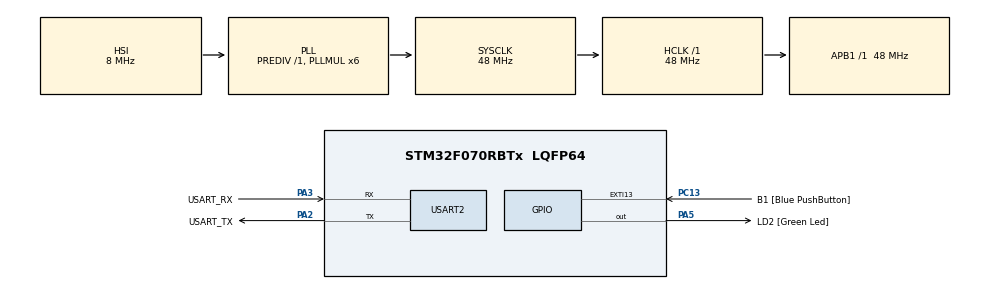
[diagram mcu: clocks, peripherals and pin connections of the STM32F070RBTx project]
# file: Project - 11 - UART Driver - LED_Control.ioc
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Mcu.Family=STM32F0
Mcu.Name=STM32F070RBTx
Mcu.Package=LQFP64
PA13.GPIO_Label=TMS
PA13.Mode=Serial_Wire
PA13.Signal=SYS_SWDIO
PA14.GPIO_Label=TCK
PA14.Mode=Serial_Wire
PA14.Signal=SYS_SWCLK
PA2.GPIO_Label=USART_TX
PA2.Mode=Asynchronous
PA2.Signal=USART2_TX
PA3.GPIO_Label=USART_RX
PA3.Mode=Asynchronous
PA3.Signal=USART2_RX
PA5.GPIO_Label=LD2 [Green Led]
PA5.Signal=GPIO_Output
PC13.GPIO_Label=B1 [Blue PushButton]
PC13.GPIO_ModeDefaultEXTI=GPIO_MODE_IT_FALLING
PC13.Signal=GPXTI13
PC14-OSC32_IN.GPIO_Label=RCC_OSC32_IN
PC14-OSC32_IN.Mode=LSE-External-Oscillator
PC14-OSC32_IN.Signal=RCC_OSC32_IN
PC15-OSC32_OUT.GPIO_Label=RCC_OSC32_OUT
PC15-OSC32_OUT.Mode=LSE-External-Oscillator
PC15-OSC32_OUT.Signal=RCC_OSC32_OUT
PF0-OSC_IN.GPIO_Label=RCC_OSC_IN
PF0-OSC_IN.Mode=HSE-External-Clock-Source
PF0-OSC_IN.Signal=RCC_OSC_IN
PF1-OSC_OUT.GPIO_Label=RCC_OSC_OUT
PF1-OSC_OUT.Signal=RCC_OSC_OUT
ProjectManager.HeapSize=0x200
ProjectManager.StackSize=0x400
ProjectManager.TargetToolchain=STM32CubeIDE
RCC.AHBFreq_Value=48000000
RCC.APB1Freq_Value=48000000
RCC.APB1TimFreq_Value=48000000
RCC.HCLKFreq_Value=48000000
RCC.PLLMUL=RCC_PLL_MUL6
RCC.SYSCLKFreq_VALUE=48000000
RCC.SYSCLKSource=RCC_SYSCLKSOURCE_PLLCLK
USART2.VirtualMode-Asynchronous=VM_ASYNC
board=NUCLEO-F070RB

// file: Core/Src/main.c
/* USER CODE BEGIN Header */
/**
  ******************************************************************************
  * @file           : main.c
  * @brief          : Main program body
  ******************************************************************************
  * @attention
  *
  * <h2><center>&copy; Copyright (c) 2020 STMicroelectronics.
  * All rights reserved.</center></h2>
  *
  * This software component is licensed by ST under BSD 3-Clause license,
  * the "License"; You may not use this file except in compliance with the
  * License. You may obtain a copy of the License at:
  *                        opensource.org/licenses/BSD-3-Clause
  *
  ******************************************************************************
  */
/* USER CODE END Header */
#include "main.h"

/* USER CODE BEGIN Includes */
#include "led_driver.h"
#include "button_driver.h"
#include "uart_driver.h"
#include <stdio.h>
/* USER CODE END Includes */

UART_HandleTypeDef huart2;

/* USER CODE BEGIN PV */
int32_t UART_get_command(void);
void send_time_string(void);
/* USER CODE END PV */

void SystemClock_Config(void);
static void MX_GPIO_Init(void);
static void MX_USART2_UART_Init(void);

int main(void)
{

  /* USER CODE BEGIN 1 */
	uint32_t led_hiz = 1;
  /* USER CODE END 1 */

  /* MCU Configuration--------------------------------------------------------*/

  /* Reset of all peripherals, Initializes the Flash interface and the Systick. */
  HAL_Init();

  /* Configure the system clock */
  SystemClock_Config();

  /* Initialize all configured peripherals */
  MX_GPIO_Init();
  MX_USART2_UART_Init();
  /* USER CODE BEGIN 2 */
 UART_Init();
 button_init();
 user_led_init();
  /* USER CODE END 2 */

  /* Infinite loop */
  while (1)
  {

    /* USER CODE BEGIN 3 */
		if( UART_bytes_to_read() != 0) {
			led_hiz = UART_get_command();
		}
		if(button_get_state() == 0){
			user_led_toggle();
			send_time_string();
			HAL_Delay(led_hiz*500);
		}
		else {
			user_led_toggle();
			send_time_string();
			HAL_Delay(led_hiz*100);
		}
  }
  /* USER CODE END 3 */
}

void SystemClock_Config(void)
{
  RCC_OscInitTypeDef RCC_OscInitStruct = {0};
  RCC_ClkInitTypeDef RCC_ClkInitStruct = {0};

  /** Initializes the RCC Oscillators according to the specified parameters
  * in the RCC_OscInitTypeDef structure.
  */
  RCC_OscInitStruct.OscillatorType = RCC_OSCILLATORTYPE_HSI;
  RCC_OscInitStruct.HSIState = RCC_HSI_ON;
  RCC_OscInitStruct.HSICalibrationValue = RCC_HSICALIBRATION_DEFAULT;
  RCC_OscInitStruct.PLL.PLLState = RCC_PLL_ON;
  RCC_OscInitStruct.PLL.PLLSource = RCC_PLLSOURCE_HSI;
  RCC_OscInitStruct.PLL.PLLMUL = RCC_PLL_MUL6;
  RCC_OscInitStruct.PLL.PREDIV = RCC_PREDIV_DIV1;
  if (HAL_RCC_OscConfig(&RCC_OscInitStruct) != HAL_OK)
  {
    Error_Handler();
  }

  /** Initializes the CPU, AHB and APB buses clocks
  */
  RCC_ClkInitStruct.ClockType = RCC_CLOCKTYPE_HCLK|RCC_CLOCKTYPE_SYSCLK
                              |RCC_CLOCKTYPE_PCLK1;
  RCC_ClkInitStruct.SYSCLKSource = RCC_SYSCLKSOURCE_PLLCLK;
  RCC_ClkInitStruct.AHBCLKDivider = RCC_SYSCLK_DIV1;
  RCC_ClkInitStruct.APB1CLKDivider = RCC_HCLK_DIV1;

  if (HAL_RCC_ClockConfig(&RCC_ClkInitStruct, FLASH_LATENCY_1) != HAL_OK)
  {
    Error_Handler();
  }
}

static void MX_USART2_UART_Init(void)
{

  huart2.Instance = USART2;
  huart2.Init.BaudRate = 38400;
  huart2.Init.WordLength = UART_WORDLENGTH_8B;
  huart2.Init.StopBits = UART_STOPBITS_1;
  huart2.Init.Parity = UART_PARITY_NONE;
  huart2.Init.Mode = UART_MODE_TX_RX;
  huart2.Init.HwFlowCtl = UART_HWCONTROL_NONE;
  huart2.Init.OverSampling = UART_OVERSAMPLING_16;
  huart2.Init.OneBitSampling = UART_ONE_BIT_SAMPLE_DISABLE;
  huart2.AdvancedInit.AdvFeatureInit = UART_ADVFEATURE_NO_INIT;
  if (HAL_UART_Init(&huart2) != HAL_OK)
  {
    Error_Handler();
  }

}

static void MX_GPIO_Init(void)
{
  GPIO_InitTypeDef GPIO_InitStruct = {0};

  /* GPIO Ports Clock Enable */
  __HAL_RCC_GPIOC_CLK_ENABLE();
  __HAL_RCC_GPIOF_CLK_ENABLE();
  __HAL_RCC_GPIOA_CLK_ENABLE();

  /*Configure GPIO pin Output Level */
  HAL_GPIO_WritePin(LD2_GPIO_Port, LD2_Pin, GPIO_PIN_RESET);

  /*Configure GPIO pin : B1_Pin */
  GPIO_InitStruct.Pin = B1_Pin;
  GPIO_InitStruct.Mode = GPIO_MODE_IT_FALLING;
  GPIO_InitStruct.Pull = GPIO_NOPULL;
  HAL_GPIO_Init(B1_GPIO_Port, &GPIO_InitStruct);

  /*Configure GPIO pin : LD2_Pin */
  GPIO_InitStruct.Pin = LD2_Pin;
  GPIO_InitStruct.Mode = GPIO_MODE_OUTPUT_PP;
  GPIO_InitStruct.Pull = GPIO_NOPULL;
  GPIO_InitStruct.Speed = GPIO_SPEED_FREQ_LOW;
  HAL_GPIO_Init(LD2_GPIO_Port, &GPIO_InitStruct);

}

/* USER CODE BEGIN 4 */

int32_t UART_get_command(void)
{
	int32_t blink_speed = 0;
	int ch = 0;
	ch = UART_read_byte();
	if(ch != -1)
	{
		 switch(ch)
		 {
			 case '1':
				 blink_speed = 1;
				 break;
			 case '2':
				 blink_speed = 2;
				 break;
			 case '3':
				 blink_speed = 3;
				 break;
			 default:
				 blink_speed = 1;
				 break;
		 }
		 return blink_speed;
	}

	return 0;
}

void send_time_string(void)
{
	uint32_t n = 0;
	static uint32_t time;
	time++;

	n = UART_bytes_to_read();
	printf("Zaman: %u Gelen_veri:%u Buton Durum: %u\n\r",(unsigned int)time,(unsigned int)n, (unsigned int)button_get_state());
}

/* USER CODE END 4 */

void Error_Handler(void)
{
}
